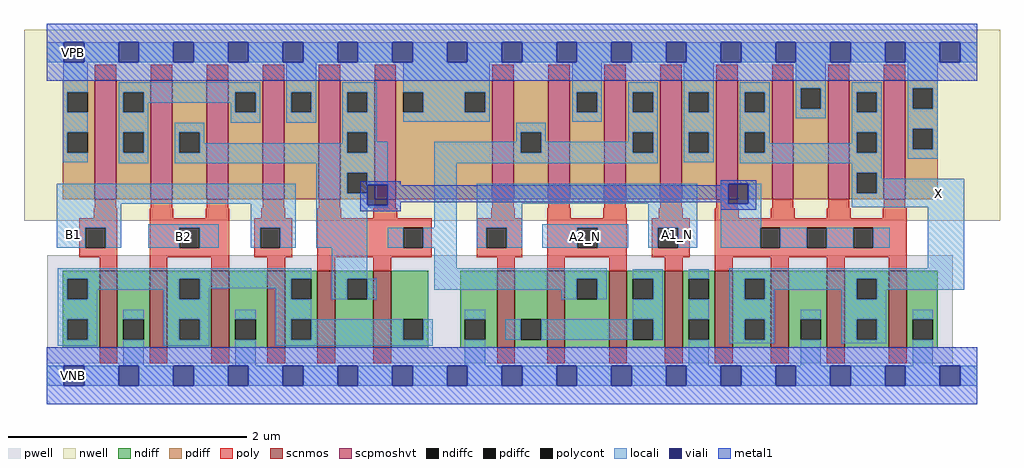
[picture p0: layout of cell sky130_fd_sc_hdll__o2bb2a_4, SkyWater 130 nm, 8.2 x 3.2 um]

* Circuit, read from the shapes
.subckt sky130_fd_sc_hdll__o2bb2a_4 A1_N A2_N B1 B2 VGND VNB VPB VPWR X
XM1 VGND B1 n1 VNB sky130_fd_pr__nfet_01v8 w=0.65 l=0.15 m=2
XM2 n1 B2 VGND VNB sky130_fd_pr__nfet_01v8 w=0.65 l=0.15 m=2
XM3 n2 n3 n1 VNB sky130_fd_pr__nfet_01v8 w=0.65 l=0.15 m=2
XM4 n4 A1_N VGND VNB sky130_fd_pr__nfet_01v8 w=0.65 l=0.15 m=2
XM5 n3 A2_N n4 VNB sky130_fd_pr__nfet_01v8 w=0.65 l=0.15 m=2
XM6 X n2 VGND VNB sky130_fd_pr__nfet_01v8 w=0.65 l=0.15 m=4
XM7 n5 B1 VPWR VPB sky130_fd_pr__pfet_01v8_hvt w=1 l=0.18 m=2
XM8 n2 B2 n5 VPB sky130_fd_pr__pfet_01v8_hvt w=1 l=0.18 m=2
XM9 n2 n3 VPWR VPB sky130_fd_pr__pfet_01v8_hvt w=1 l=0.18 m=2
XM10 n3 A1_N VPWR VPB sky130_fd_pr__pfet_01v8_hvt w=1 l=0.18 m=2
XM11 VPWR A2_N n3 VPB sky130_fd_pr__pfet_01v8_hvt w=1 l=0.18 m=2
XM12 X n2 VPWR VPB sky130_fd_pr__pfet_01v8_hvt w=1 l=0.18 m=4
.ends

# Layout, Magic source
magic
tech sky130A
magscale 1 2
<< nwell >>
rect -38 261 1602 582
<< pwell >>
rect 1 21 1523 203
rect 29 -17 63 21
<< scnmos >>
rect 89 47 119 177
rect 173 47 203 177
rect 277 47 307 177
rect 371 47 401 177
rect 455 47 485 177
rect 549 47 579 177
rect 757 47 787 177
rect 841 47 871 177
rect 945 47 975 177
rect 1039 47 1069 177
rect 1123 47 1153 177
rect 1217 47 1247 177
rect 1311 47 1341 177
rect 1415 47 1445 177
<< scpmoshvt >>
rect 81 297 117 497
rect 175 297 211 497
rect 269 297 305 497
rect 363 297 399 497
rect 457 297 493 497
rect 551 297 587 497
rect 749 297 785 497
rect 843 297 879 497
rect 937 297 973 497
rect 1031 297 1067 497
rect 1125 297 1161 497
rect 1219 297 1255 497
rect 1313 297 1349 497
rect 1407 297 1443 497
<< ndiff >>
rect 27 163 89 177
rect 27 129 35 163
rect 69 129 89 163
rect 27 95 89 129
rect 27 61 35 95
rect 69 61 89 95
rect 27 47 89 61
rect 119 95 173 177
rect 119 61 129 95
rect 163 61 173 95
rect 119 47 173 61
rect 203 163 277 177
rect 203 129 223 163
rect 257 129 277 163
rect 203 95 277 129
rect 203 61 223 95
rect 257 61 277 95
rect 203 47 277 61
rect 307 95 371 177
rect 307 61 317 95
rect 351 61 371 95
rect 307 47 371 61
rect 401 163 455 177
rect 401 129 411 163
rect 445 129 455 163
rect 401 95 455 129
rect 401 61 411 95
rect 445 61 455 95
rect 401 47 455 61
rect 485 163 549 177
rect 485 129 505 163
rect 539 129 549 163
rect 485 47 549 129
rect 579 95 641 177
rect 579 61 599 95
rect 633 61 641 95
rect 579 47 641 61
rect 695 95 757 177
rect 695 61 703 95
rect 737 61 757 95
rect 695 47 757 61
rect 787 95 841 177
rect 787 61 797 95
rect 831 61 841 95
rect 787 47 841 61
rect 871 163 945 177
rect 871 129 891 163
rect 925 129 945 163
rect 871 47 945 129
rect 975 163 1039 177
rect 975 129 985 163
rect 1019 129 1039 163
rect 975 95 1039 129
rect 975 61 985 95
rect 1019 61 1039 95
rect 975 47 1039 61
rect 1069 163 1123 177
rect 1069 129 1079 163
rect 1113 129 1123 163
rect 1069 95 1123 129
rect 1069 61 1079 95
rect 1113 61 1123 95
rect 1069 47 1123 61
rect 1153 163 1217 177
rect 1153 129 1173 163
rect 1207 129 1217 163
rect 1153 95 1217 129
rect 1153 61 1173 95
rect 1207 61 1217 95
rect 1153 47 1217 61
rect 1247 95 1311 177
rect 1247 61 1267 95
rect 1301 61 1311 95
rect 1247 47 1311 61
rect 1341 163 1415 177
rect 1341 129 1361 163
rect 1395 129 1415 163
rect 1341 95 1415 129
rect 1341 61 1361 95
rect 1395 61 1415 95
rect 1341 47 1415 61
rect 1445 95 1497 177
rect 1445 61 1455 95
rect 1489 61 1497 95
rect 1445 47 1497 61
<< pdiff >>
rect 27 477 81 497
rect 27 443 35 477
rect 69 443 81 477
rect 27 409 81 443
rect 27 375 35 409
rect 69 375 81 409
rect 27 297 81 375
rect 117 477 175 497
rect 117 443 129 477
rect 163 443 175 477
rect 117 409 175 443
rect 117 375 129 409
rect 163 375 175 409
rect 117 297 175 375
rect 211 409 269 497
rect 211 375 223 409
rect 257 375 269 409
rect 211 297 269 375
rect 305 477 363 497
rect 305 443 317 477
rect 351 443 363 477
rect 305 297 363 443
rect 399 477 457 497
rect 399 443 411 477
rect 445 443 457 477
rect 399 297 457 443
rect 493 477 551 497
rect 493 443 505 477
rect 539 443 551 477
rect 493 409 551 443
rect 493 375 505 409
rect 539 375 551 409
rect 493 341 551 375
rect 493 307 505 341
rect 539 307 551 341
rect 493 297 551 307
rect 587 477 749 497
rect 587 443 599 477
rect 633 443 703 477
rect 737 443 749 477
rect 587 297 749 443
rect 785 409 843 497
rect 785 375 797 409
rect 831 375 843 409
rect 785 297 843 375
rect 879 477 937 497
rect 879 443 891 477
rect 925 443 937 477
rect 879 297 937 443
rect 973 477 1031 497
rect 973 443 985 477
rect 1019 443 1031 477
rect 973 409 1031 443
rect 973 375 985 409
rect 1019 375 1031 409
rect 973 297 1031 375
rect 1067 477 1125 497
rect 1067 443 1079 477
rect 1113 443 1125 477
rect 1067 409 1125 443
rect 1067 375 1079 409
rect 1113 375 1125 409
rect 1067 297 1125 375
rect 1161 477 1219 497
rect 1161 443 1173 477
rect 1207 443 1219 477
rect 1161 409 1219 443
rect 1161 375 1173 409
rect 1207 375 1219 409
rect 1161 297 1219 375
rect 1255 483 1313 497
rect 1255 449 1267 483
rect 1301 449 1313 483
rect 1255 297 1313 449
rect 1349 477 1407 497
rect 1349 443 1361 477
rect 1395 443 1407 477
rect 1349 409 1407 443
rect 1349 375 1361 409
rect 1395 375 1407 409
rect 1349 341 1407 375
rect 1349 307 1361 341
rect 1395 307 1407 341
rect 1349 297 1407 307
rect 1443 483 1497 497
rect 1443 449 1455 483
rect 1489 449 1497 483
rect 1443 415 1497 449
rect 1443 381 1455 415
rect 1489 381 1497 415
rect 1443 297 1497 381
<< ndiffc >>
rect 35 129 69 163
rect 35 61 69 95
rect 129 61 163 95
rect 223 129 257 163
rect 223 61 257 95
rect 317 61 351 95
rect 411 129 445 163
rect 411 61 445 95
rect 505 129 539 163
rect 599 61 633 95
rect 703 61 737 95
rect 797 61 831 95
rect 891 129 925 163
rect 985 129 1019 163
rect 985 61 1019 95
rect 1079 129 1113 163
rect 1079 61 1113 95
rect 1173 129 1207 163
rect 1173 61 1207 95
rect 1267 61 1301 95
rect 1361 129 1395 163
rect 1361 61 1395 95
rect 1455 61 1489 95
<< pdiffc >>
rect 35 443 69 477
rect 35 375 69 409
rect 129 443 163 477
rect 129 375 163 409
rect 223 375 257 409
rect 317 443 351 477
rect 411 443 445 477
rect 505 443 539 477
rect 505 375 539 409
rect 505 307 539 341
rect 599 443 633 477
rect 703 443 737 477
rect 797 375 831 409
rect 891 443 925 477
rect 985 443 1019 477
rect 985 375 1019 409
rect 1079 443 1113 477
rect 1079 375 1113 409
rect 1173 443 1207 477
rect 1173 375 1207 409
rect 1267 449 1301 483
rect 1361 443 1395 477
rect 1361 375 1395 409
rect 1361 307 1395 341
rect 1455 449 1489 483
rect 1455 381 1489 415
<< poly >>
rect 81 497 117 523
rect 175 497 211 523
rect 269 497 305 523
rect 363 497 399 523
rect 457 497 493 523
rect 551 497 587 523
rect 749 497 785 523
rect 843 497 879 523
rect 937 497 973 523
rect 1031 497 1067 523
rect 1125 497 1161 523
rect 1219 497 1255 523
rect 1313 497 1349 523
rect 1407 497 1443 523
rect 81 282 117 297
rect 175 282 211 297
rect 269 282 305 297
rect 363 282 399 297
rect 457 282 493 297
rect 551 282 587 297
rect 749 282 785 297
rect 843 282 879 297
rect 937 282 973 297
rect 1031 282 1067 297
rect 1125 282 1161 297
rect 1219 282 1255 297
rect 1313 282 1349 297
rect 1407 282 1443 297
rect 79 265 119 282
rect 55 249 119 265
rect 55 215 65 249
rect 99 215 119 249
rect 55 199 119 215
rect 89 177 119 199
rect 173 265 213 282
rect 267 265 307 282
rect 361 265 401 282
rect 455 265 495 282
rect 549 265 589 282
rect 747 265 787 282
rect 841 265 881 282
rect 935 265 975 282
rect 1029 265 1069 282
rect 1123 265 1163 282
rect 1217 265 1257 282
rect 1311 265 1351 282
rect 1405 265 1445 282
rect 173 249 307 265
rect 173 215 223 249
rect 257 215 307 249
rect 173 199 307 215
rect 349 249 413 265
rect 349 215 359 249
rect 393 215 413 249
rect 349 199 413 215
rect 455 249 647 265
rect 455 215 599 249
rect 633 215 647 249
rect 455 199 647 215
rect 723 249 799 265
rect 723 215 739 249
rect 773 215 799 249
rect 723 199 799 215
rect 841 249 975 265
rect 841 215 892 249
rect 926 215 975 249
rect 841 199 975 215
rect 1017 249 1081 265
rect 1017 215 1027 249
rect 1061 215 1081 249
rect 1017 199 1081 215
rect 1123 249 1445 265
rect 1123 215 1199 249
rect 1233 215 1277 249
rect 1311 215 1355 249
rect 1389 215 1445 249
rect 1123 199 1445 215
rect 173 177 203 199
rect 277 177 307 199
rect 371 177 401 199
rect 455 177 485 199
rect 549 177 579 199
rect 757 177 787 199
rect 841 177 871 199
rect 945 177 975 199
rect 1039 177 1069 199
rect 1123 177 1153 199
rect 1217 177 1247 199
rect 1311 177 1341 199
rect 1415 177 1445 199
rect 89 21 119 47
rect 173 21 203 47
rect 277 21 307 47
rect 371 21 401 47
rect 455 21 485 47
rect 549 21 579 47
rect 757 21 787 47
rect 841 21 871 47
rect 945 21 975 47
rect 1039 21 1069 47
rect 1123 21 1153 47
rect 1217 21 1247 47
rect 1311 21 1341 47
rect 1415 21 1445 47
<< polycont >>
rect 65 215 99 249
rect 223 215 257 249
rect 359 215 393 249
rect 599 215 633 249
rect 739 215 773 249
rect 892 215 926 249
rect 1027 215 1061 249
rect 1199 215 1233 249
rect 1277 215 1311 249
rect 1355 215 1389 249
<< locali >>
rect 0 527 29 561
rect 63 527 121 561
rect 155 527 213 561
rect 247 527 305 561
rect 339 527 397 561
rect 431 527 489 561
rect 523 527 581 561
rect 615 527 673 561
rect 707 527 765 561
rect 799 527 857 561
rect 891 527 949 561
rect 983 527 1041 561
rect 1075 527 1133 561
rect 1167 527 1225 561
rect 1259 527 1317 561
rect 1351 527 1409 561
rect 1443 527 1501 561
rect 1535 527 1564 561
rect 28 477 69 527
rect 28 443 35 477
rect 28 409 69 443
rect 28 375 35 409
rect 28 359 69 375
rect 121 477 359 493
rect 121 443 129 477
rect 163 459 317 477
rect 163 443 171 459
rect 121 409 171 443
rect 309 443 317 459
rect 351 443 359 477
rect 309 425 359 443
rect 403 477 453 527
rect 403 443 411 477
rect 445 443 453 477
rect 403 425 453 443
rect 497 477 555 493
rect 497 443 505 477
rect 539 443 555 477
rect 121 375 129 409
rect 163 375 171 409
rect 121 357 171 375
rect 215 409 265 425
rect 215 375 223 409
rect 257 391 265 409
rect 497 409 555 443
rect 599 477 745 527
rect 633 443 703 477
rect 737 443 745 477
rect 599 427 745 443
rect 883 477 933 527
rect 883 443 891 477
rect 925 443 933 477
rect 883 427 933 443
rect 977 477 1027 493
rect 977 443 985 477
rect 1019 443 1027 477
rect 497 391 505 409
rect 257 375 505 391
rect 539 393 555 409
rect 789 409 839 425
rect 789 393 797 409
rect 539 375 573 393
rect 215 357 573 375
rect 453 341 573 357
rect 17 289 419 323
rect 17 249 125 289
rect 17 215 65 249
rect 99 215 125 249
rect 171 249 289 255
rect 171 215 223 249
rect 257 215 289 249
rect 343 249 419 289
rect 343 215 359 249
rect 393 215 419 249
rect 453 307 505 341
rect 539 321 573 341
rect 453 287 539 307
rect 453 283 573 287
rect 651 375 797 393
rect 831 393 839 409
rect 977 409 1027 443
rect 977 393 985 409
rect 831 375 985 393
rect 1019 375 1027 409
rect 651 357 1027 375
rect 1071 477 1121 527
rect 1071 443 1079 477
rect 1113 443 1121 477
rect 1071 409 1121 443
rect 1071 375 1079 409
rect 1113 375 1121 409
rect 1071 359 1121 375
rect 1165 477 1215 493
rect 1165 443 1173 477
rect 1207 443 1215 477
rect 1165 409 1215 443
rect 1259 483 1309 527
rect 1259 449 1267 483
rect 1301 449 1309 483
rect 1259 433 1309 449
rect 1353 477 1403 493
rect 1353 443 1361 477
rect 1395 443 1403 477
rect 1165 375 1173 409
rect 1207 391 1215 409
rect 1353 409 1403 443
rect 1353 391 1361 409
rect 1207 375 1361 391
rect 1395 375 1403 409
rect 1165 357 1403 375
rect 1447 483 1497 527
rect 1447 449 1455 483
rect 1489 449 1497 483
rect 1447 415 1497 449
rect 1447 381 1455 415
rect 1489 381 1497 415
rect 1447 365 1497 381
rect 453 215 539 283
rect 651 249 689 357
rect 1353 341 1403 357
rect 573 215 599 249
rect 633 215 689 249
rect 723 289 1093 323
rect 723 249 799 289
rect 723 215 739 249
rect 773 215 799 249
rect 833 249 977 255
rect 833 215 892 249
rect 926 215 977 249
rect 1011 249 1093 289
rect 1011 215 1027 249
rect 1061 215 1093 249
rect 1133 289 1145 323
rect 1179 289 1201 323
rect 1133 249 1201 289
rect 1353 307 1361 341
rect 1395 331 1403 341
rect 1395 307 1542 331
rect 1353 283 1542 307
rect 1133 215 1199 249
rect 1233 215 1277 249
rect 1311 215 1355 249
rect 1389 215 1417 249
rect 19 163 445 181
rect 19 129 35 163
rect 69 145 223 163
rect 69 129 85 145
rect 19 95 85 129
rect 197 129 223 145
rect 257 147 411 163
rect 257 129 273 147
rect 19 61 35 95
rect 69 61 85 95
rect 19 51 85 61
rect 129 95 163 111
rect 129 17 163 61
rect 197 95 273 129
rect 385 129 411 147
rect 479 163 539 215
rect 651 181 689 215
rect 1481 181 1542 283
rect 651 163 941 181
rect 479 129 505 163
rect 539 129 555 163
rect 651 145 891 163
rect 865 129 891 145
rect 925 129 941 163
rect 985 163 1035 179
rect 1019 129 1035 163
rect 197 61 223 95
rect 257 61 273 95
rect 197 51 273 61
rect 317 95 351 111
rect 317 17 351 61
rect 385 95 445 129
rect 703 95 737 111
rect 985 95 1035 129
rect 385 61 411 95
rect 445 61 599 95
rect 633 61 649 95
rect 385 51 649 61
rect 771 61 797 95
rect 831 61 985 95
rect 1019 61 1035 95
rect 1079 163 1113 179
rect 1079 95 1113 129
rect 703 17 737 61
rect 1079 17 1113 61
rect 1147 163 1542 181
rect 1147 129 1173 163
rect 1207 145 1361 163
rect 1207 129 1223 145
rect 1147 95 1223 129
rect 1335 129 1361 145
rect 1395 145 1542 163
rect 1395 129 1411 145
rect 1147 61 1173 95
rect 1207 61 1223 95
rect 1147 55 1223 61
rect 1267 95 1301 111
rect 1267 17 1301 61
rect 1335 95 1411 129
rect 1335 61 1361 95
rect 1395 61 1411 95
rect 1335 55 1411 61
rect 1455 95 1489 111
rect 1455 17 1489 61
rect 0 -17 29 17
rect 63 -17 121 17
rect 155 -17 213 17
rect 247 -17 305 17
rect 339 -17 397 17
rect 431 -17 489 17
rect 523 -17 581 17
rect 615 -17 673 17
rect 707 -17 765 17
rect 799 -17 857 17
rect 891 -17 949 17
rect 983 -17 1041 17
rect 1075 -17 1133 17
rect 1167 -17 1225 17
rect 1259 -17 1317 17
rect 1351 -17 1409 17
rect 1443 -17 1501 17
rect 1535 -17 1564 17
<< viali >>
rect 29 527 63 561
rect 121 527 155 561
rect 213 527 247 561
rect 305 527 339 561
rect 397 527 431 561
rect 489 527 523 561
rect 581 527 615 561
rect 673 527 707 561
rect 765 527 799 561
rect 857 527 891 561
rect 949 527 983 561
rect 1041 527 1075 561
rect 1133 527 1167 561
rect 1225 527 1259 561
rect 1317 527 1351 561
rect 1409 527 1443 561
rect 1501 527 1535 561
rect 539 287 573 321
rect 1145 289 1179 323
rect 29 -17 63 17
rect 121 -17 155 17
rect 213 -17 247 17
rect 305 -17 339 17
rect 397 -17 431 17
rect 489 -17 523 17
rect 581 -17 615 17
rect 673 -17 707 17
rect 765 -17 799 17
rect 857 -17 891 17
rect 949 -17 983 17
rect 1041 -17 1075 17
rect 1133 -17 1167 17
rect 1225 -17 1259 17
rect 1317 -17 1351 17
rect 1409 -17 1443 17
rect 1501 -17 1535 17
<< metal1 >>
rect 0 561 1564 592
rect 0 527 29 561
rect 63 527 121 561
rect 155 527 213 561
rect 247 527 305 561
rect 339 527 397 561
rect 431 527 489 561
rect 523 527 581 561
rect 615 527 673 561
rect 707 527 765 561
rect 799 527 857 561
rect 891 527 949 561
rect 983 527 1041 561
rect 1075 527 1133 561
rect 1167 527 1225 561
rect 1259 527 1317 561
rect 1351 527 1409 561
rect 1443 527 1501 561
rect 1535 527 1564 561
rect 0 496 1564 527
rect 527 321 595 327
rect 527 287 539 321
rect 573 320 595 321
rect 1133 323 1192 329
rect 1133 320 1145 323
rect 573 292 1145 320
rect 573 287 595 292
rect 527 277 595 287
rect 1133 289 1145 292
rect 1179 289 1192 323
rect 1133 279 1192 289
rect 0 17 1564 48
rect 0 -17 29 17
rect 63 -17 121 17
rect 155 -17 213 17
rect 247 -17 305 17
rect 339 -17 397 17
rect 431 -17 489 17
rect 523 -17 581 17
rect 615 -17 673 17
rect 707 -17 765 17
rect 799 -17 857 17
rect 891 -17 949 17
rect 983 -17 1041 17
rect 1075 -17 1133 17
rect 1167 -17 1225 17
rect 1259 -17 1317 17
rect 1351 -17 1409 17
rect 1443 -17 1501 17
rect 1535 -17 1564 17
rect 0 -48 1564 -17
<< labels >>
flabel locali s 833 215 977 255 0 FreeSans 400 180 0 0 A2_N
port 2 nsew signal input
flabel locali s 1043 221 1077 255 0 FreeSans 400 180 0 0 A1_N
port 1 nsew signal input
flabel locali s 1481 289 1515 323 0 FreeSans 400 180 0 0 X
port 9 nsew signal output
flabel locali s 171 215 289 255 0 FreeSans 400 0 0 0 B2
port 4 nsew signal input
flabel locali s 29 221 63 255 0 FreeSans 400 0 0 0 B1
port 3 nsew signal input
flabel pwell s 29 -17 63 17 0 FreeSans 200 0 0 0 VNB
port 6 nsew ground bidirectional
flabel nwell s 29 527 63 561 0 FreeSans 200 0 0 0 VPB
port 7 nsew power bidirectional
flabel metal1 s 29 -17 63 17 0 FreeSans 200 0 0 0 VGND
port 5 nsew ground bidirectional
flabel metal1 s 29 527 63 561 0 FreeSans 200 0 0 0 VPWR
port 8 nsew power bidirectional
rlabel comment s 0 0 0 0 4 o2bb2a_4
<< properties >>
string LEFsite unithd
string LEFclass CORE
string FIXED_BBOX 0 0 1564 544
string GDS_FILE $PDKPATH/libs.ref/sky130_fd_sc_hdll/gds/sky130_fd_sc_hdll.gds
string LEFsymmetry X Y R90
string GDS_END 2559524
string GDS_START 2547784
string LEFproperties maskLayoutSubType "abstract" prCellType "standard" originalViewName "layout"
<< end >>
